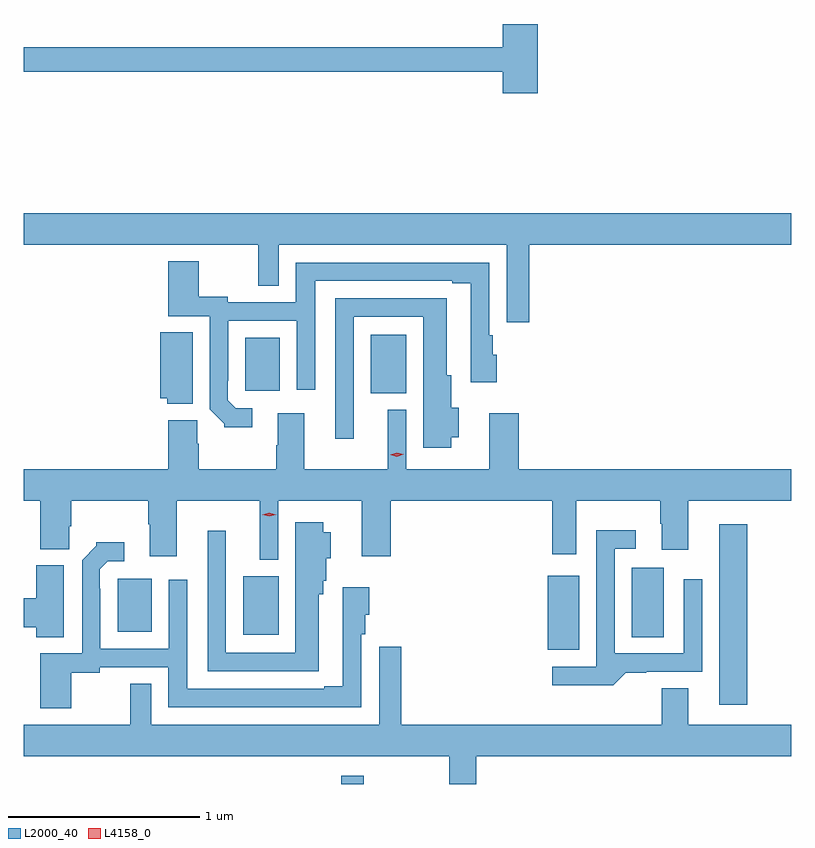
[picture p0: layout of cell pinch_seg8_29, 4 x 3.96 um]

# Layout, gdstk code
import gdstk
lib = gdstk.Library(unit=1e-6, precision=1e-09)
def R(c, l, rs):  # rectangles x0, y0, x1, y1
    for r in rs: c.add(gdstk.rectangle(r[:2], r[2:], *l))
def P(c, l, *ps):  # polygons
    for p in ps: c.add(gdstk.Polygon(p, *l))
L2000_40 = (2000, 40)
L4158_0 = (4158, 0)

pinch_seg8_29 = lib.new_cell('pinch_seg8_29')
R(pinch_seg8_29, L2000_40, [(893.761,1127.011,893.877,1127.053), (895.73,1127.424,895.877,1128.364), (894.836,1127.711,895,1128.097), (895.274,1127.776,895.441,1128.139), (893.249,1127.789,893.434,1128.094), (892.595,1127.804,892.774,1128.081), (893.915,1129.046,894.1,1129.351), (893.261,1129.059,893.44,1129.336)])
P(pinch_seg8_29, L2000_40, [(894.785,1130.971),(894.602,1130.971),(894.602,1130.851),(892.106,1130.851),(892.106,1130.722),(894.602,1130.722),(894.602,1130.61),(894.785,1130.61)],
  [(894.74,1129.82),(896.106,1129.82),(896.106,1129.984),(892.106,1129.984),(892.106,1129.82),(893.328,1129.82),(893.328,1129.606),(893.436,1129.606),(893.436,1129.82),(894.624,1129.82),(894.624,1129.416),(894.74,1129.416)],
  [(893.296,1128.969),(893.211,1128.969),(893.169,1129.011),(893.169,1129.111),(893.172,1129.111),(893.172,1129.425),(893.529,1129.425),(893.529,1129.065),(893.625,1129.065),(893.625,1129.632),(894.338,1129.632),(894.338,1129.62),(894.435,1129.62),(894.435,1129.104),(894.572,1129.104),(894.572,1129.248),(894.551,1129.248),(894.551,1129.348),(894.531,1129.348),(894.531,1129.728),(893.525,1129.728),(893.525,1129.521),(893.169,1129.521),(893.169,1129.55),(893.019,1129.55),(893.019,1129.735),(892.859,1129.735),(892.859,1129.449),(893.076,1129.449),(893.076,1128.963),(893.151,1128.888),(893.151,1128.871),(893.296,1128.871)],
  [(894.334,1128.818),(894.373,1128.818),(894.373,1128.971),(894.334,1128.971),(894.334,1129.14),(894.31,1129.14),(894.31,1129.542),(893.73,1129.542),(893.73,1128.81),(893.826,1128.81),(893.826,1129.446),(894.188,1129.446),(894.188,1128.764),(894.334,1128.764)],
  [(892.987,1129.364),(892.817,1129.364),(892.817,1129.02),(892.854,1129.02),(892.854,1128.992),(892.987,1128.992)],
  [(893.433,1128.488),(893.867,1128.488),(893.867,1128.198),(894.02,1128.198),(894.02,1128.488),(894.86,1128.488),(894.86,1128.207),(894.985,1128.207),(894.985,1128.488),(895.423,1128.488),(895.423,1128.368),(895.43,1128.368),(895.43,1128.231),(895.57,1128.231),(895.57,1128.488),(896.106,1128.488),(896.106,1128.652),(894.686,1128.652),(894.686,1128.943),(894.533,1128.943),(894.533,1128.652),(894.099,1128.652),(894.099,1128.961),(894.002,1128.961),(894.002,1128.652),(893.569,1128.652),(893.569,1128.943),(893.429,1128.943),(893.429,1128.776),(893.422,1128.776),(893.422,1128.652),(893.019,1128.652),(893.019,1128.785),(893.01,1128.785),(893.01,1128.907),(892.859,1128.907),(892.859,1128.652),(892.106,1128.652),(892.106,1128.488),(892.193,1128.488),(892.193,1128.235),(892.344,1128.235),(892.344,1128.355),(892.353,1128.355),(892.353,1128.488),(892.756,1128.488),(892.756,1128.364),(892.763,1128.364),(892.763,1128.198),(892.903,1128.198),(892.903,1128.488),(893.336,1128.488),(893.336,1128.179),(893.433,1128.179)],
  [(893.644,1128),(893.668,1128),(893.668,1128.069),(893.683,1128.069),(893.683,1128.186),(893.707,1128.186),(893.707,1128.322),(893.668,1128.322),(893.668,1128.376),(893.522,1128.376),(893.522,1127.694),(893.16,1127.694),(893.16,1128.331),(893.064,1128.331),(893.064,1127.598),(893.644,1127.598)],
  [(895.243,1127.59),(895.351,1127.59),(895.351,1127.595),(895.641,1127.595),(895.641,1128.079),(895.545,1128.079),(895.545,1127.691),(895.185,1127.691),(895.185,1128.237),(895.294,1128.237),(895.294,1128.334),(895.089,1128.334),(895.089,1127.622),(894.861,1127.622),(894.861,1127.525),(895.178,1127.525)],
  [(892.353,1127.59),(892.503,1127.59),(892.503,1127.619),(892.859,1127.619),(892.859,1127.412),(893.865,1127.412),(893.865,1127.792),(893.885,1127.792),(893.885,1127.892),(893.906,1127.892),(893.906,1128.037),(893.769,1128.037),(893.769,1127.521),(893.672,1127.521),(893.672,1127.508),(892.959,1127.508),(892.959,1128.076),(892.863,1128.076),(892.863,1127.715),(892.506,1127.715),(892.506,1128.029),(892.503,1128.029),(892.503,1128.129),(892.545,1128.171),(892.63,1128.171),(892.63,1128.27),(892.485,1128.27),(892.485,1128.252),(892.41,1128.177),(892.41,1127.691),(892.193,1127.691),(892.193,1127.406),(892.353,1127.406)],
  [(892.315,1128.15),(892.172,1128.15),(892.172,1127.98),(892.106,1127.98),(892.106,1127.828),(892.172,1127.828),(892.172,1127.776),(892.315,1127.776)],
  [(894.463,1127.156),(896.106,1127.156),(896.106,1127.32),(895.57,1127.32),(895.57,1127.51),(895.43,1127.51),(895.43,1127.32),(894.074,1127.32),(894.074,1127.725),(893.958,1127.725),(893.958,1127.32),(892.77,1127.32),(892.77,1127.534),(892.662,1127.534),(892.662,1127.32),(892.106,1127.32),(892.106,1127.156),(894.324,1127.156),(894.324,1127.011),(894.463,1127.011)])
P(pinch_seg8_29, L4158_0, [(894.051,1128.717),(894.016,1128.726),(894.016,1128.727),(894.016,1128.727),(894.051,1128.737),(894.087,1128.728),(894.087,1128.728),(894.087,1128.728)],
  [(893.385,1128.405),(893.35,1128.415),(893.35,1128.415),(893.35,1128.415),(893.385,1128.425),(893.421,1128.415),(893.421,1128.415),(893.421,1128.415)])

lib.write_gds('pinch_seg8_29.gds')
